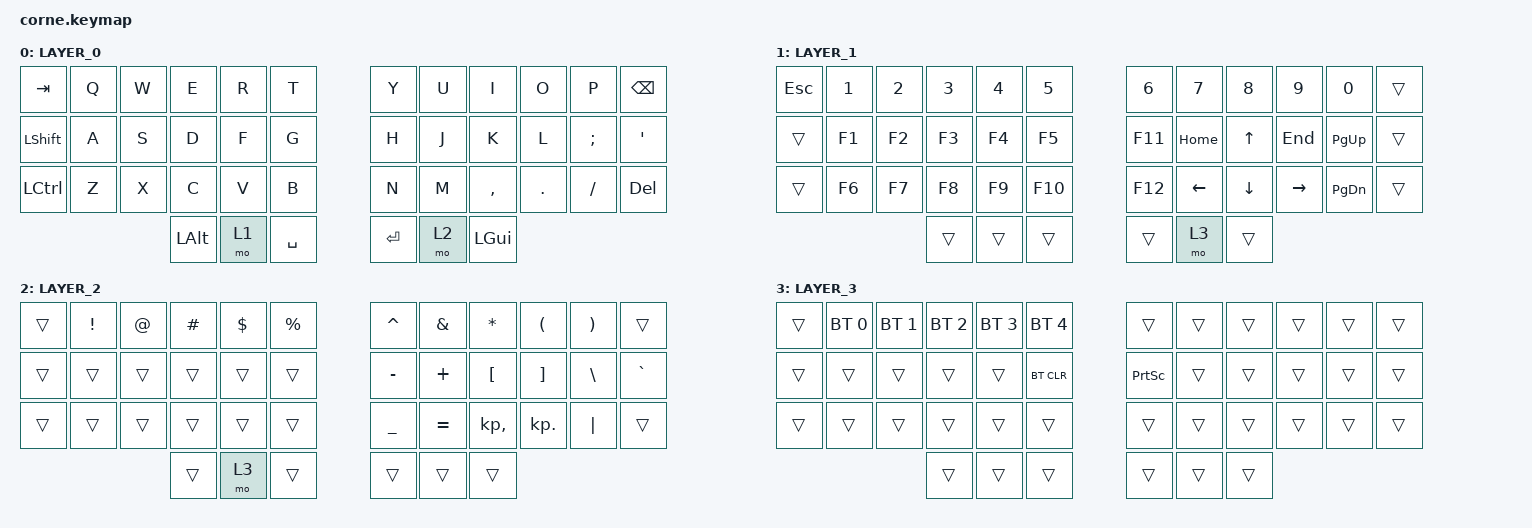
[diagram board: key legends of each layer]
/*
 * Copyright (c) 2020 The ZMK Contributors
 *
 * SPDX-License-Identifier: MIT
 */

#include <behaviors.dtsi>
#include <dt-bindings/zmk/bt.h>
#include <dt-bindings/zmk/keys.h>

&led_strip {
    chain-length = <27>;

    // 21 backlight + 6 glowlight
};

/ {
    keymap {
        compatible = "zmk,keymap";

        LAYER_0 {
            // -----------------------------------------------------------------------------------------
            // |  TAB |  Q  |  W  |  E  |  R  |  T  |   |  Y  |  U   |  I  |  O  |  P  | BKSP |
            // | CTRL |  A  |  S  |  D  |  F  |  G  |   |  H  |  J   |  K  |  L  |  ;  |  '   |
            // | SHFT |  Z  |  X  |  C  |  V  |  B  |   |  N  |  M   |  ,  |  .  |  /  | ESC  |
            //                    | GUI | LWR | SPC |   | ENT | RSE  | ALT |

            bindings = <
&kp TAB           &kp Q  &kp W  &kp E         &kp R  &kp T        &kp Y    &kp U  &kp I         &kp O    &kp P      &kp BACKSPACE
&kp LEFT_SHIFT    &kp A  &kp S  &kp D         &kp F  &kp G        &kp H    &kp J  &kp K         &kp L    &kp SEMI   &kp SQT
&kp LEFT_CONTROL  &kp Z  &kp X  &kp C         &kp V  &kp B        &kp N    &kp M  &kp COMMA     &kp DOT  &kp SLASH  &kp DELETE
                                &kp LEFT_ALT  &mo 1  &kp SPACE    &kp RET  &mo 2  &kp LEFT_GUI
            >;
        };

        LAYER_1 {
            // -----------------------------------------------------------------------------------------
            // |  TAB |  1  |  2  |  3  |  4  |  5  |   |  6  |  7  |  8  |  9  |  0  | BKSP |
            // | BTCLR| BT1 | BT2 | BT3 | BT4 | BT5 |   | LFT | DWN |  UP | RGT |     |      |
            // | SHFT |     |     |     |     |     |   |     |     |     |     |     |      |
            //                    | GUI |     | SPC |   | ENT |     | ALT |

            bindings = <
&kp ESCAPE  &kp N1  &kp N2  &kp N3  &kp N4  &kp N5     &kp N6   &kp N7    &kp N8    &kp N9     &kp N0         &trans
&trans      &kp F1  &kp F2  &kp F3  &kp F4  &kp F5     &kp F11  &kp HOME  &kp UP    &kp END    &kp PAGE_UP    &trans
&trans      &kp F6  &kp F7  &kp F8  &kp F9  &kp F10    &kp F12  &kp LEFT  &kp DOWN  &kp RIGHT  &kp PAGE_DOWN  &trans
                            &trans  &trans  &trans     &trans   &mo 3     &trans
            >;
        };

        LAYER_2 {
            // -----------------------------------------------------------------------------------------
            // |  TAB |  !  |  @  |  #  |  $  |  %  |   |  ^  |  &  |  *  |  (  |  )  | BKSP |
            // | CTRL |     |     |     |     |     |   |  -  |  =  |  [  |  ]  |  \  |  `   |
            // | SHFT |     |     |     |     |     |   |  _  |  +  |  {  |  }  | "|" |  ~   |
            //                    | GUI |     | SPC |   | ENT |     | ALT |

            bindings = <
&trans  &kp EXCLAMATION  &kp AT_SIGN  &kp HASH  &kp DLLR  &kp PRCNT    &kp CARET  &kp AMPS   &kp ASTRK     &kp LPAR    &kp RPAR  &trans
&trans  &trans           &trans       &trans    &trans    &trans       &kp MINUS  &kp PLUS   &kp LBKT      &kp RBKT    &kp BSLH  &kp GRAVE
&trans  &trans           &trans       &trans    &trans    &trans       &kp UNDER  &kp EQUAL  &kp KP_COMMA  &kp KP_DOT  &kp PIPE  &trans
                                      &trans    &mo 3     &trans       &trans     &trans     &trans
            >;
        };

        LAYER_3 {
            bindings = <
&trans  &bt BT_SEL 0  &bt BT_SEL 1  &bt BT_SEL 2  &bt BT_SEL 3  &bt BT_SEL 4    &trans           &trans  &trans  &trans  &trans  &trans
&trans  &trans        &trans        &trans        &trans        &bt BT_CLR      &kp PRINTSCREEN  &trans  &trans  &trans  &trans  &trans
&trans  &trans        &trans        &trans        &trans        &trans          &trans           &trans  &trans  &trans  &trans  &trans
                                    &trans        &trans        &trans          &trans           &trans  &trans
            >;
        };
    };
};
